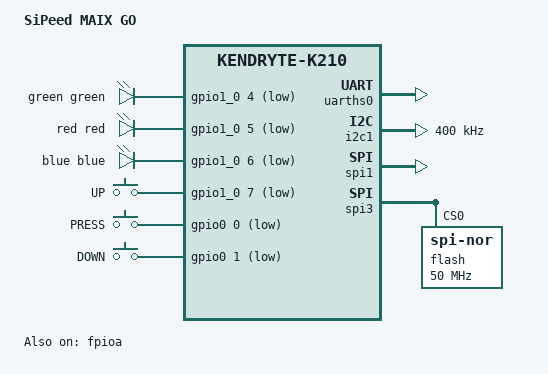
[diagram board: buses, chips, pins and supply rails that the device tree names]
// SPDX-License-Identifier: GPL-2.0+
/*
 * Copyright (C) 2019-20 Sean Anderson <seanga2@gmail.com>
 * Copyright (C) 2020 Western Digital Corporation or its affiliates.
 */

/dts-v1/;

#include "k210.dtsi"

#include <dt-bindings/gpio/gpio.h>
#include <dt-bindings/input/input.h>
#include <dt-bindings/leds/common.h>

/ {
	model = "SiPeed MAIX GO";
	compatible = "sipeed,maix-go", "canaan,kendryte-k210";

	chosen {
		bootargs = "earlycon console=ttySIF0";
		stdout-path = "serial0:115200n8";
	};

	gpio-leds {
		compatible = "gpio-leds";

		led0 {
			color = <LED_COLOR_ID_GREEN>;
			label = "green";
			gpios = <&gpio1_0 4 GPIO_ACTIVE_LOW>;
		};

		led1 {
			color = <LED_COLOR_ID_RED>;
			label = "red";
			gpios = <&gpio1_0 5 GPIO_ACTIVE_LOW>;
		};

		led2 {
			color = <LED_COLOR_ID_BLUE>;
			label = "blue";
			gpios = <&gpio1_0 6 GPIO_ACTIVE_LOW>;
		};
	};

	gpio-keys {
		compatible = "gpio-keys";

		key-up {
			label = "UP";
			linux,code = <BTN_1>;
			gpios = <&gpio1_0 7 GPIO_ACTIVE_LOW>;
		};

		key-press {
			label = "PRESS";
			linux,code = <BTN_0>;
			gpios = <&gpio0 0 GPIO_ACTIVE_LOW>;
		};

		key-down {
			label = "DOWN";
			linux,code = <BTN_2>;
			gpios = <&gpio0 1 GPIO_ACTIVE_LOW>;
		};
	};
};

&fpioa {
	pinctrl-0 = <&jtag_pinctrl>;
	pinctrl-names = "default";
	status = "okay";

	jtag_pinctrl: jtag-pinmux {
		pinmux = <K210_FPIOA(0, K210_PCF_JTAG_TCLK)>,
			 <K210_FPIOA(1, K210_PCF_JTAG_TDI)>,
			 <K210_FPIOA(2, K210_PCF_JTAG_TMS)>,
			 <K210_FPIOA(3, K210_PCF_JTAG_TDO)>;
	};

	uarths_pinctrl: uarths-pinmux {
		pinmux = <K210_FPIOA(4, K210_PCF_UARTHS_RX)>,
			 <K210_FPIOA(5, K210_PCF_UARTHS_TX)>;
	};

	gpio_pinctrl: gpio-pinmux {
		pinmux = <K210_FPIOA(8, K210_PCF_GPIO0)>,
			 <K210_FPIOA(9, K210_PCF_GPIO1)>,
			 <K210_FPIOA(10, K210_PCF_GPIO2)>,
			 <K210_FPIOA(11, K210_PCF_GPIO3)>,
			 <K210_FPIOA(12, K210_PCF_GPIO4)>,
			 <K210_FPIOA(13, K210_PCF_GPIO5)>,
			 <K210_FPIOA(14, K210_PCF_GPIO6)>,
			 <K210_FPIOA(15, K210_PCF_GPIO7)>;
	};

	gpiohs_pinctrl: gpiohs-pinmux {
		pinmux = <K210_FPIOA(16, K210_PCF_GPIOHS0)>,
			 <K210_FPIOA(17, K210_PCF_GPIOHS1)>,
			 <K210_FPIOA(21, K210_PCF_GPIOHS5)>,
			 <K210_FPIOA(22, K210_PCF_GPIOHS6)>,
			 <K210_FPIOA(23, K210_PCF_GPIOHS7)>,
			 <K210_FPIOA(24, K210_PCF_GPIOHS8)>,
			 <K210_FPIOA(25, K210_PCF_GPIOHS9)>,
			 <K210_FPIOA(32, K210_PCF_GPIOHS16)>,
			 <K210_FPIOA(33, K210_PCF_GPIOHS17)>,
			 <K210_FPIOA(34, K210_PCF_GPIOHS18)>,
			 <K210_FPIOA(35, K210_PCF_GPIOHS19)>;
	};

	i2s0_pinctrl: i2s0-pinmux {
		pinmux = <K210_FPIOA(18, K210_PCF_I2S0_SCLK)>,
			 <K210_FPIOA(19, K210_PCF_I2S0_WS)>,
			 <K210_FPIOA(20, K210_PCF_I2S0_IN_D0)>;
	};

	dvp_pinctrl: dvp-pinmux {
		pinmux = <K210_FPIOA(40, K210_PCF_SCCB_SDA)>,
			 <K210_FPIOA(41, K210_PCF_SCCB_SCLK)>,
			 <K210_FPIOA(42, K210_PCF_DVP_RST)>,
			 <K210_FPIOA(43, K210_PCF_DVP_VSYNC)>,
			 <K210_FPIOA(44, K210_PCF_DVP_PWDN)>,
			 <K210_FPIOA(45, K210_PCF_DVP_HSYNC)>,
			 <K210_FPIOA(46, K210_PCF_DVP_XCLK)>,
			 <K210_FPIOA(47, K210_PCF_DVP_PCLK)>;
	};

	spi0_pinctrl: spi0-pinmux {
		pinmux = <K210_FPIOA(36, K210_PCF_GPIOHS20)>,  /* cs */
			 <K210_FPIOA(37, K210_PCF_GPIOHS21)>,  /* rst */
			 <K210_FPIOA(38, K210_PCF_GPIOHS22)>,  /* dc */
			 <K210_FPIOA(39, K210_PCF_SPI0_SCLK)>; /* wr */
	};

	spi1_pinctrl: spi1-pinmux {
		pinmux = <K210_FPIOA(26, K210_PCF_SPI1_D1)>,
			 <K210_FPIOA(27, K210_PCF_SPI1_SCLK)>,
			 <K210_FPIOA(28, K210_PCF_SPI1_D0)>,
			 <K210_FPIOA(29, K210_PCF_GPIOHS13)>; /* cs */
	};

	i2c1_pinctrl: i2c1-pinmux {
		pinmux = <K210_FPIOA(30, K210_PCF_I2C1_SCLK)>,
			 <K210_FPIOA(31, K210_PCF_I2C1_SDA)>;
	};
};

&uarths0 {
	pinctrl-0 = <&uarths_pinctrl>;
	pinctrl-names = "default";
	status = "okay";
};

&gpio0 {
	pinctrl-0 = <&gpiohs_pinctrl>;
	pinctrl-names = "default";
	status = "okay";
};

&gpio1 {
	pinctrl-0 = <&gpio_pinctrl>;
	pinctrl-names = "default";
	status = "okay";
};

&i2s0 {
	#sound-dai-cells = <1>;
	pinctrl-0 = <&i2s0_pinctrl>;
	pinctrl-names = "default";
};

&i2c1 {
	pinctrl-0 = <&i2c1_pinctrl>;
	pinctrl-names = "default";
	clock-frequency = <400000>;
	status = "okay";
};

&spi0 {
	pinctrl-0 = <&spi0_pinctrl>;
	pinctrl-names = "default";
	num-cs = <1>;
	cs-gpios = <&gpio0 20 GPIO_ACTIVE_HIGH>;

	panel@0 {
		compatible = "sitronix,st7789v";
		reg = <0>;
		reset-gpios = <&gpio0 21 GPIO_ACTIVE_LOW>;
		dc-gpios = <&gpio0 22 GPIO_ACTIVE_HIGH>;
		spi-max-frequency = <15000000>;
		status = "disabled";
	};
};

&spi1 {
	pinctrl-0 = <&spi1_pinctrl>;
	pinctrl-names = "default";
	num-cs = <1>;
	cs-gpios = <&gpio0 13 GPIO_ACTIVE_LOW>;
	status = "okay";

	slot@0 {
		compatible = "mmc-spi-slot";
		reg = <0>;
		voltage-ranges = <3300 3300>;
		spi-max-frequency = <25000000>;
		broken-cd;
	};
};

&spi3 {
	flash@0 {
		compatible = "jedec,spi-nor";
		reg = <0>;
		spi-max-frequency = <50000000>;
		spi-tx-bus-width = <4>;
		spi-rx-bus-width = <4>;
		m25p,fast-read;
		broken-flash-reset;
	};
};
